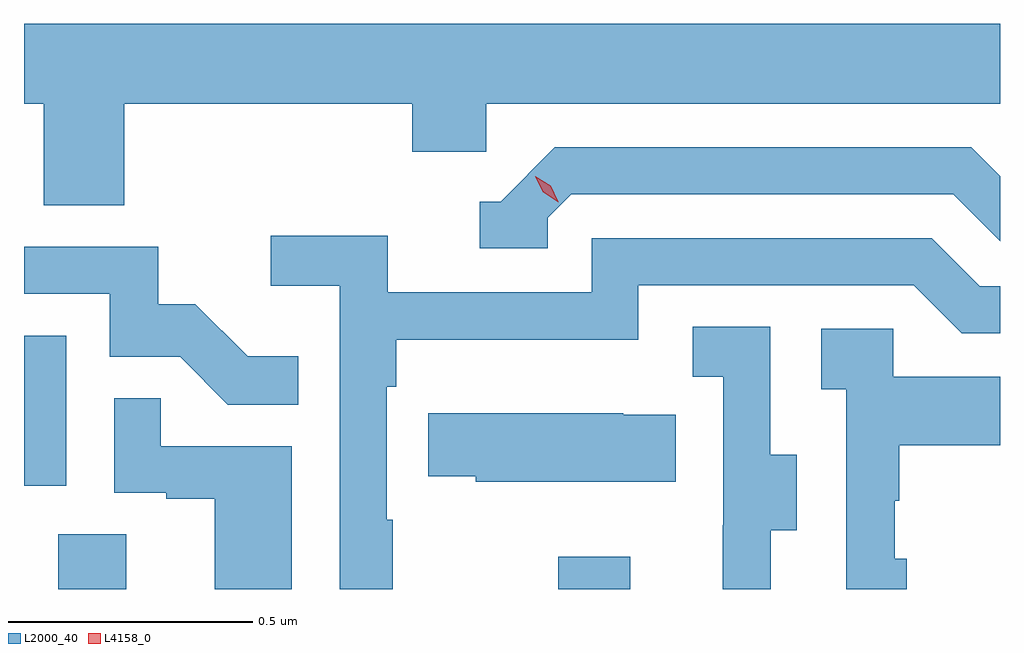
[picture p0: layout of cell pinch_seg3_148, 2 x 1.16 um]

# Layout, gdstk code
import gdstk
lib = gdstk.Library(unit=1e-6, precision=1e-09)
def R(c, l, rs):  # rectangles x0, y0, x1, y1
    for r in rs: c.add(gdstk.rectangle(r[:2], r[2:], *l))
def P(c, l, *ps):  # polygons
    for p in ps: c.add(gdstk.Polygon(p, *l))
L2000_40 = (2000, 40)
L4158_0 = (4158, 0)

pinch_seg3_148 = lib.new_cell('pinch_seg3_148')
R(pinch_seg3_148, L2000_40, [(1119.623,726.562,1119.763,726.674), (1120.648,726.562,1120.795,726.628), (1119.553,726.774,1119.64,727.081)])
P(pinch_seg3_148, L2000_40, [(1119.758,727.556),(1120.349,727.556),(1120.349,727.458),(1120.5,727.458),(1120.5,727.556),(1121.553,727.556),(1121.553,727.72),(1119.553,727.72),(1119.553,727.556),(1119.593,727.556),(1119.593,727.348),(1119.758,727.348)],
  [(1120.626,727.323),(1120.674,727.371),(1121.457,727.371),(1121.553,727.275),(1121.553,727.408),(1121.494,727.467),(1120.641,727.467),(1120.53,727.356),(1120.487,727.356),(1120.487,727.26),(1120.626,727.26)],
  [(1120.309,726.704),(1120.296,726.704),(1120.296,726.977),(1120.316,726.977),(1120.316,727.073),(1120.812,727.073),(1120.812,727.185),(1121.376,727.185),(1121.475,727.086),(1121.553,727.086),(1121.553,727.182),(1121.512,727.182),(1121.413,727.281),(1120.716,727.281),(1120.716,727.17),(1120.298,727.17),(1120.298,727.286),(1120.059,727.286),(1120.059,727.184),(1120.2,727.184),(1120.2,726.562),(1120.309,726.562)],
  [(1120.115,727.039),(1120.011,727.039),(1119.904,727.146),(1119.828,727.146),(1119.828,727.263),(1119.553,727.263),(1119.553,727.167),(1119.729,727.167),(1119.729,727.038),(1119.873,727.038),(1119.971,726.94),(1120.115,726.94)],
  [(1121.083,726.682),(1121.137,726.682),(1121.137,726.837),(1121.082,726.837),(1121.082,727.1),(1120.923,727.1),(1120.923,726.997),(1120.986,726.997),(1120.986,726.693),(1120.985,726.693),(1120.985,726.562),(1121.083,726.562)],
  [(1121.362,726.624),(1121.337,726.624),(1121.337,726.743),(1121.347,726.743),(1121.347,726.857),(1121.553,726.857),(1121.553,726.997),(1121.334,726.997),(1121.334,727.095),(1121.187,727.095),(1121.187,726.971),(1121.238,726.971),(1121.238,726.562),(1121.362,726.562)],
  [(1120.102,726.855),(1119.833,726.855),(1119.833,726.953),(1119.738,726.953),(1119.738,726.759),(1119.845,726.759),(1119.845,726.747),(1119.944,726.747),(1119.944,726.562),(1120.102,726.562)],
  [(1120.889,726.919),(1120.781,726.919),(1120.781,726.922),(1120.381,726.922),(1120.381,726.793),(1120.479,726.793),(1120.479,726.782),(1120.889,726.782)])
P(pinch_seg3_148, L4158_0, [(1120.648,727.355),(1120.617,727.375),(1120.601,727.407),(1120.601,727.408),(1120.601,727.408),(1120.632,727.388),(1120.648,727.356),(1120.648,727.355)])

lib.write_gds('pinch_seg3_148.gds')
